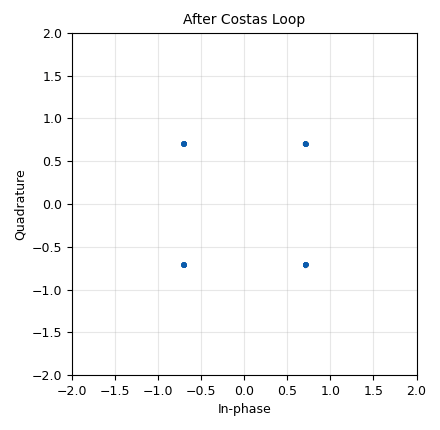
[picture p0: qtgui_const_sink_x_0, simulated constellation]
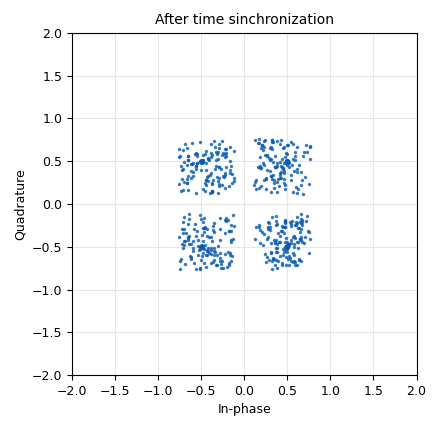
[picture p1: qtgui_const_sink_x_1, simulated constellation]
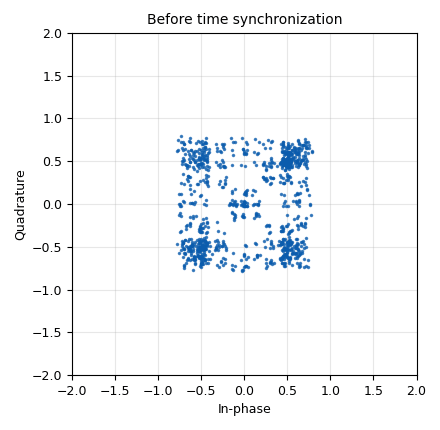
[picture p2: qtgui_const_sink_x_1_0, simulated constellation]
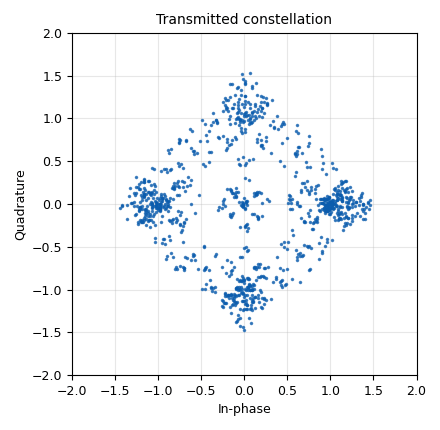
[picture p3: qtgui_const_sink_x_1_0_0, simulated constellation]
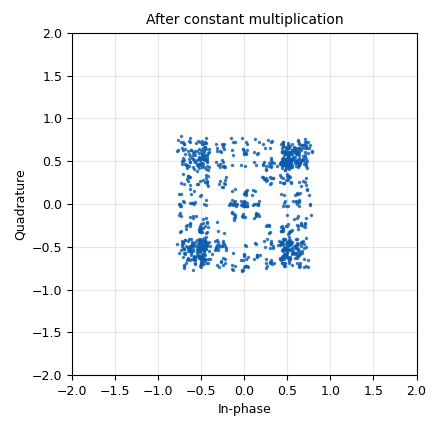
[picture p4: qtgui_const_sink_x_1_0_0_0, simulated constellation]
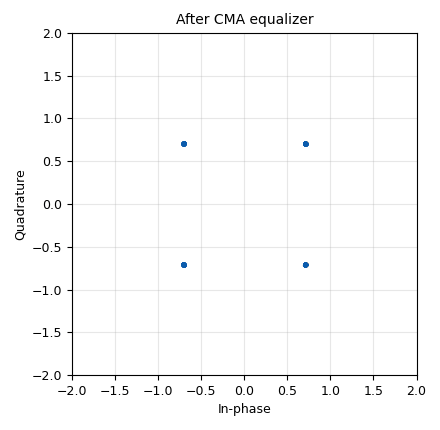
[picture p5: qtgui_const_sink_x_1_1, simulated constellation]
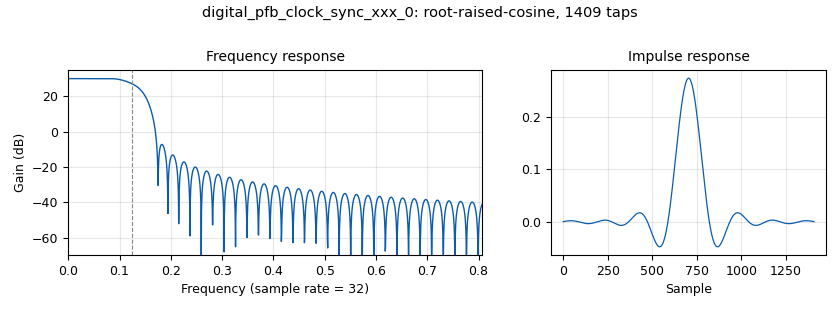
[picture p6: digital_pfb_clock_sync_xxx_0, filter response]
<?xml version='1.0' encoding='utf-8'?>
<?grc format='1' created='3.7.10'?>
<flow_graph>
<block>
<key>options</key>
<param><key>id</key><value>costa_loop</value></param>
<param><key>author</key><value>Alexandros-Apostolos A. Boulogeorgos</value></param>
<param><key>generate_options</key><value>qt_gui</value></param>
<param><key>title</key><value>Costa Loop Demonstration</value></param>
</block>
<block>
<key>variable</key>
<param><key>id</key><value>arity</value></param>
<param><key>value</key><value>4</value></param>
</block>
<block>
<key>variable_qtgui_range</key>
<param><key>id</key><value>eq_gain</value></param>
<param><key>value</key><value>0.01</value></param>
<param><key>gui_hint</key><value>1,0,1,1</value></param>
<param><key>label</key><value>Equalizer: rate</value></param>
<param><key>orient</key><value>Qt.Horizontal</value></param>
<param><key>start</key><value>0.0</value></param>
<param><key>step</key><value>0.001</value></param>
<param><key>stop</key><value>0.1</value></param>
<param><key>widget</key><value>slider</value></param>
</block>
<block>
<key>variable_qtgui_range</key>
<param><key>id</key><value>freq_offset</value></param>
<param><key>value</key><value>0</value></param>
<param><key>gui_hint</key><value>0,1,1,1</value></param>
<param><key>label</key><value>Channel: Frequency Offset</value></param>
<param><key>orient</key><value>Qt.Horizontal</value></param>
<param><key>start</key><value>-0.1</value></param>
<param><key>step</key><value>0.001</value></param>
<param><key>stop</key><value>0.1</value></param>
<param><key>widget</key><value>slider</value></param>
</block>
<block>
<key>variable</key>
<param><key>id</key><value>nfilts</value></param>
<param><key>value</key><value>32</value></param>
</block>
<block>
<key>variable_qtgui_range</key>
<param><key>id</key><value>noise_volt</value></param>
<param><key>value</key><value>0.0001</value></param>
<param><key>gui_hint</key><value>0,0,1,1</value></param>
<param><key>label</key><value>Channel: Noise Voltage</value></param>
<param><key>orient</key><value>Qt.Horizontal</value></param>
<param><key>start</key><value>0</value></param>
<param><key>step</key><value>0.01</value></param>
<param><key>stop</key><value>1</value></param>
<param><key>widget</key><value>slider</value></param>
</block>
<block>
<key>variable_qtgui_range</key>
<param><key>id</key><value>phase_bw</value></param>
<param><key>value</key><value>6.28/100.0</value></param>
<param><key>gui_hint</key><value>1,2,1,1</value></param>
<param><key>label</key><value>Phase: Bandwidth</value></param>
<param><key>orient</key><value>Qt.Horizontal</value></param>
<param><key>start</key><value>0.0</value></param>
<param><key>step</key><value>0.01</value></param>
<param><key>stop</key><value>1.0</value></param>
<param><key>widget</key><value>slider</value></param>
</block>
<block>
<key>variable</key>
<param><key>id</key><value>rrc_taps</value></param>
<param><key>value</key><value>firdes.root_raised_cosine(nfilts, nfilts, 1.0/float(sps), 0.35, 11*sps*nfilts)</value></param>
</block>
<block>
<key>variable</key>
<param><key>id</key><value>samp_rate</value></param>
<param><key>value</key><value>32000</value></param>
</block>
<block>
<key>variable</key>
<param><key>id</key><value>sps</value></param>
<param><key>value</key><value>4</value></param>
</block>
<block>
<key>variable</key>
<param><key>id</key><value>taps</value></param>
<param><key>_enabled</key><value>False</value></param>
<param><key>value</key><value>[1.0, 0.25-0.25j, 0.50 + 0.10j, -0.3 + 0.2j]</value></param>
</block>
<block>
<key>variable</key>
<param><key>id</key><value>taps</value></param>
<param><key>value</key><value>[1.0 + 0.0j, ]</value></param>
</block>
<block>
<key>variable_qtgui_range</key>
<param><key>id</key><value>time_offset</value></param>
<param><key>value</key><value>1.00</value></param>
<param><key>gui_hint</key><value>0,2,1,1</value></param>
<param><key>label</key><value>Channel: Timing Offset</value></param>
<param><key>orient</key><value>Qt.Horizontal</value></param>
<param><key>start</key><value>0.999</value></param>
<param><key>step</key><value>0.0001</value></param>
<param><key>stop</key><value>1.001</value></param>
<param><key>widget</key><value>slider</value></param>
</block>
<block>
<key>variable_qtgui_range</key>
<param><key>id</key><value>timing_loop_bw</value></param>
<param><key>value</key><value>6.28/100.0</value></param>
<param><key>gui_hint</key><value>0,3,1,1</value></param>
<param><key>label</key><value>Time: BW</value></param>
<param><key>orient</key><value>Qt.Horizontal</value></param>
<param><key>start</key><value>0.0</value></param>
<param><key>step</key><value>0.01</value></param>
<param><key>stop</key><value>0.2</value></param>
<param><key>widget</key><value>slider</value></param>
</block>
<block>
<key>analog_random_source_x</key>
<param><key>id</key><value>analog_random_source_x_0</value></param>
<param><key>max</key><value>256</value></param>
<param><key>min</key><value>0</value></param>
<param><key>num_samps</key><value>1000</value></param>
<param><key>type</key><value>byte</value></param>
<param><key>repeat</key><value>True</value></param>
</block>
<block>
<key>blocks_multiply_const_vxx</key>
<param><key>id</key><value>blocks_multiply_const_vxx_0</value></param>
<param><key>const</key><value>.5+.5j</value></param>
<param><key>type</key><value>complex</value></param>
</block>
<block>
<key>blocks_multiply_xx</key>
<param><key>id</key><value>blocks_multiply_xx_0</value></param>
<param><key>type</key><value>complex</value></param>
<param><key>num_inputs</key><value>4</value></param>
</block>
<block>
<key>blocks_throttle</key>
<param><key>id</key><value>blocks_throttle_0</value></param>
<param><key>samples_per_second</key><value>samp_rate</value></param>
<param><key>type</key><value>complex</value></param>
</block>
<block>
<key>channels_channel_model</key>
<param><key>id</key><value>channels_channel_model_0</value></param>
<param><key>epsilon</key><value>time_offset</value></param>
<param><key>freq_offset</key><value>freq_offset</value></param>
<param><key>noise_voltage</key><value>noise_volt</value></param>
<param><key>seed</key><value>0</value></param>
<param><key>taps</key><value>taps</value></param>
</block>
<block>
<key>digital_cma_equalizer_cc</key>
<param><key>id</key><value>digital_cma_equalizer_cc_0</value></param>
<param><key>mu</key><value>eq_gain</value></param>
<param><key>modulus</key><value>1</value></param>
<param><key>num_taps</key><value>15</value></param>
<param><key>sps</key><value>2</value></param>
</block>
<block>
<key>digital_costas_loop_cc</key>
<param><key>id</key><value>digital_costas_loop_cc_0</value></param>
<param><key>w</key><value>phase_bw</value></param>
<param><key>order</key><value>arity</value></param>
</block>
<block>
<key>digital_pfb_clock_sync_xxx</key>
<param><key>id</key><value>digital_pfb_clock_sync_xxx_0</value></param>
<param><key>filter_size</key><value>nfilts</value></param>
<param><key>init_phase</key><value>nfilts/2</value></param>
<param><key>loop_bw</key><value>timing_loop_bw</value></param>
<param><key>max_dev</key><value>1.5</value></param>
<param><key>osps</key><value>2</value></param>
<param><key>sps</key><value>sps</value></param>
<param><key>taps</key><value>rrc_taps</value></param>
<param><key>type</key><value>ccf</value></param>
</block>
<block>
<key>digital_psk_mod</key>
<param><key>id</key><value>digital_psk_mod_0</value></param>
<param><key>differential</key><value>True</value></param>
<param><key>excess_bw</key><value>0.35</value></param>
<param><key>mod_code</key><value>"gray"</value></param>
<param><key>constellation_points</key><value>arity</value></param>
<param><key>samples_per_symbol</key><value>sps</value></param>
</block>
<block>
<key>qtgui_const_sink_x</key>
<param><key>id</key><value>qtgui_const_sink_x_0</value></param>
<param><key>gui_hint</key><value>3,1,1,1</value></param>
<param><key>name</key><value>After Costas Loop</value></param>
<param><key>size</key><value>1024</value></param>
<param><key>type</key><value>complex</value></param>
</block>
<block>
<key>qtgui_const_sink_x</key>
<param><key>id</key><value>qtgui_const_sink_x_1</value></param>
<param><key>gui_hint</key><value>2,3,1,1</value></param>
<param><key>name</key><value>After time sinchronization</value></param>
<param><key>size</key><value>1024</value></param>
<param><key>type</key><value>complex</value></param>
</block>
<block>
<key>qtgui_const_sink_x</key>
<param><key>id</key><value>qtgui_const_sink_x_1_0</value></param>
<param><key>gui_hint</key><value>2,2,1,1</value></param>
<param><key>name</key><value>Before time synchronization </value></param>
<param><key>size</key><value>1024</value></param>
<param><key>type</key><value>complex</value></param>
</block>
<block>
<key>qtgui_const_sink_x</key>
<param><key>id</key><value>qtgui_const_sink_x_1_0_0</value></param>
<param><key>gui_hint</key><value>2,0,1,1</value></param>
<param><key>name</key><value>Transmitted constellation</value></param>
<param><key>size</key><value>1024</value></param>
<param><key>type</key><value>complex</value></param>
</block>
<block>
<key>qtgui_const_sink_x</key>
<param><key>id</key><value>qtgui_const_sink_x_1_0_0_0</value></param>
<param><key>gui_hint</key><value>2,1,1,1</value></param>
<param><key>name</key><value>After constant multiplication</value></param>
<param><key>size</key><value>1024</value></param>
<param><key>type</key><value>complex</value></param>
</block>
<block>
<key>qtgui_const_sink_x</key>
<param><key>id</key><value>qtgui_const_sink_x_1_1</value></param>
<param><key>gui_hint</key><value>3,0,1,1</value></param>
<param><key>name</key><value>After CMA equalizer</value></param>
<param><key>size</key><value>1024</value></param>
<param><key>type</key><value>complex</value></param>
</block>
<block>
<key>qtgui_freq_sink_x</key>
<param><key>id</key><value>qtgui_freq_sink_x_0</value></param>
<param><key>average</key><value>0.05</value></param>
<param><key>bw</key><value>samp_rate</value></param>
<param><key>fc</key><value>0</value></param>
<param><key>fftsize</key><value>4096</value></param>
<param><key>gui_hint</key><value>3,3,1,1</value></param>
<param><key>name</key><value>QT GUI Plot</value></param>
<param><key>showports</key><value>True</value></param>
<param><key>type</key><value>complex</value></param>
<param><key>wintype</key><value>firdes.WIN_BLACKMAN_hARRIS</value></param>
</block>
<block>
<key>qtgui_time_sink_x</key>
<param><key>id</key><value>qtgui_time_sink_x_0</value></param>
<param><key>gui_hint</key><value>3,2,1,1</value></param>
<param><key>color1</key><value>"blue"</value></param>
<param><key>label1</key><value></value></param>
<param><key>name</key><value>After Costas Loop</value></param>
<param><key>size</key><value>4000</value></param>
<param><key>srate</key><value>samp_rate</value></param>
<param><key>type</key><value>float</value></param>
<param><key>update_time</key><value>0.01</value></param>
</block>
<block>
<key>virtual_source</key>
<param><key>id</key><value>virtual_source_0</value></param>
<param><key>stream_id</key><value>channel_output</value></param>
</block>
<block>
<key>virtual_sink</key>
<param><key>id</key><value>vs0</value></param>
<param><key>stream_id</key><value>channel_output</value></param>
</block>
<connection><source_block_id>analog_random_source_x_0</source_block_id><sink_block_id>digital_psk_mod_0</sink_block_id><source_key>0</source_key><sink_key>0</sink_key></connection>
<connection><source_block_id>blocks_multiply_const_vxx_0</source_block_id><sink_block_id>blocks_throttle_0</sink_block_id><source_key>0</source_key><sink_key>0</sink_key></connection>
<connection><source_block_id>blocks_multiply_const_vxx_0</source_block_id><sink_block_id>qtgui_const_sink_x_1_0_0_0</sink_block_id><source_key>0</source_key><sink_key>0</sink_key></connection>
<connection><source_block_id>blocks_multiply_xx_0</source_block_id><sink_block_id>qtgui_freq_sink_x_0</sink_block_id><source_key>0</source_key><sink_key>0</sink_key></connection>
<connection><source_block_id>blocks_throttle_0</source_block_id><sink_block_id>channels_channel_model_0</sink_block_id><source_key>0</source_key><sink_key>0</sink_key></connection>
<connection><source_block_id>channels_channel_model_0</source_block_id><sink_block_id>vs0</sink_block_id><source_key>0</source_key><sink_key>0</sink_key></connection>
<connection><source_block_id>digital_cma_equalizer_cc_0</source_block_id><sink_block_id>digital_costas_loop_cc_0</sink_block_id><source_key>0</source_key><sink_key>0</sink_key></connection>
<connection><source_block_id>digital_cma_equalizer_cc_0</source_block_id><sink_block_id>qtgui_const_sink_x_1_1</sink_block_id><source_key>0</source_key><sink_key>0</sink_key></connection>
<connection><source_block_id>digital_costas_loop_cc_0</source_block_id><sink_block_id>qtgui_time_sink_x_0</sink_block_id><source_key>1</source_key><sink_key>0</sink_key></connection>
<connection><source_block_id>digital_costas_loop_cc_0</source_block_id><sink_block_id>qtgui_const_sink_x_0</sink_block_id><source_key>0</source_key><sink_key>0</sink_key></connection>
<connection><source_block_id>digital_pfb_clock_sync_xxx_0</source_block_id><sink_block_id>digital_cma_equalizer_cc_0</sink_block_id><source_key>0</source_key><sink_key>0</sink_key></connection>
<connection><source_block_id>digital_pfb_clock_sync_xxx_0</source_block_id><sink_block_id>qtgui_const_sink_x_1</sink_block_id><source_key>0</source_key><sink_key>0</sink_key></connection>
<connection><source_block_id>digital_psk_mod_0</source_block_id><sink_block_id>blocks_multiply_const_vxx_0</sink_block_id><source_key>0</source_key><sink_key>0</sink_key></connection>
<connection><source_block_id>digital_psk_mod_0</source_block_id><sink_block_id>qtgui_const_sink_x_1_0_0</sink_block_id><source_key>0</source_key><sink_key>0</sink_key></connection>
<connection><source_block_id>virtual_source_0</source_block_id><sink_block_id>blocks_multiply_xx_0</sink_block_id><source_key>0</source_key><sink_key>0</sink_key></connection>
<connection><source_block_id>virtual_source_0</source_block_id><sink_block_id>blocks_multiply_xx_0</sink_block_id><source_key>0</source_key><sink_key>1</sink_key></connection>
<connection><source_block_id>virtual_source_0</source_block_id><sink_block_id>blocks_multiply_xx_0</sink_block_id><source_key>0</source_key><sink_key>2</sink_key></connection>
<connection><source_block_id>virtual_source_0</source_block_id><sink_block_id>blocks_multiply_xx_0</sink_block_id><source_key>0</source_key><sink_key>3</sink_key></connection>
<connection><source_block_id>virtual_source_0</source_block_id><sink_block_id>digital_pfb_clock_sync_xxx_0</sink_block_id><source_key>0</source_key><sink_key>0</sink_key></connection>
<connection><source_block_id>virtual_source_0</source_block_id><sink_block_id>qtgui_const_sink_x_1_0</sink_block_id><source_key>0</source_key><sink_key>0</sink_key></connection>
</flow_graph>
